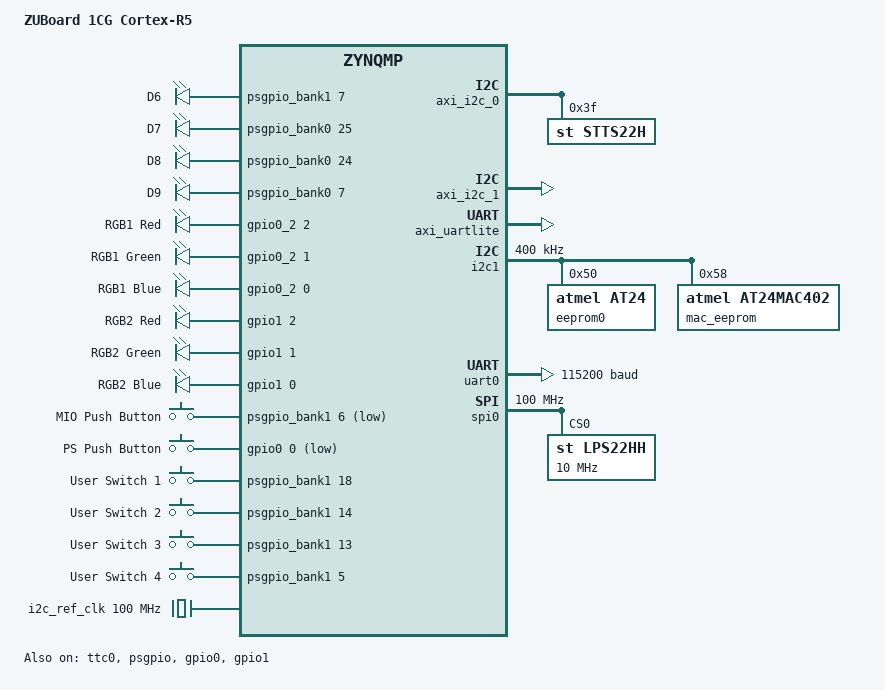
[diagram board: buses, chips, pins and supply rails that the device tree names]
/*
 * Copyright The Zephyr Project Contributors
 *
 * SPDX-License-Identifier: Apache-2.0
 */

/dts-v1/;
#include <arm/xilinx/zynqmp_rpu.dtsi>
#include <freq.h>
#include <zephyr/dt-bindings/gpio/gpio.h>
#include <zephyr/dt-bindings/i2c/i2c.h>
#include <zephyr/dt-bindings/memory-attr/memory-attr-arm.h>
#include <zephyr/dt-bindings/sensor/lps22hh.h>
#include <zephyr/dt-bindings/sensor/stts22h.h>

/ {
	model = "ZUBoard 1CG Cortex-R5";
	compatible = "xlnx,zynqmp-r5";

	chosen {
		zephyr,sram = &sram1;
		zephyr,flash = &flash0;
		zephyr,console = &axi_uartlite;
		zephyr,shell-uart = &axi_uartlite;
		zephyr,ocm = &ocm;
	};

	aliases {
		led0 = &rgb2_red;
		sw0 = &pl_push_btn;
		pressure-sensor = &lps22hh;
		eeprom-0 = &eeprom0;
	};

	leds: leds{
		compatible = "gpio-leds";
		red_led_0: d6 {
			gpios = <&psgpio_bank1 7 GPIO_ACTIVE_HIGH>;
			label = "D6";
		};
		red_led_1: d7 {
			gpios = <&psgpio_bank0 25 GPIO_ACTIVE_HIGH>;
			label = "D7";
		};
		red_led_2: d8 {
			gpios = <&psgpio_bank0 24 GPIO_ACTIVE_HIGH>;
			label = "D8";
		};
		red_led_3: d9 {
			gpios = <&psgpio_bank0 7 GPIO_ACTIVE_HIGH>;
			label = "D9";
		};
		rgb1_red: rbg1_red {
			gpios = <&gpio0_2 2 GPIO_ACTIVE_HIGH>;
			label = "RGB1 Red";
		};
		rgb1_green: rbg1_green {
			gpios = <&gpio0_2 1 GPIO_ACTIVE_HIGH>;
			label = "RGB1 Green";
		};
		rgb1_blue: rbg1_blue {
			gpios = <&gpio0_2 0 GPIO_ACTIVE_HIGH>;
			label = "RGB1 Blue";
		};
		rgb2_red: rbg2_red {
			gpios = <&gpio1 2 GPIO_ACTIVE_HIGH>;
			label = "RGB2 Red";
		};
		rgb2_green: rbg2_green {
			gpios = <&gpio1 1 GPIO_ACTIVE_HIGH>;
			label = "RGB2 Green";
		};
		rgb2_blue: rbg2_blue {
			gpios = <&gpio1 0 GPIO_ACTIVE_HIGH>;
			label = "RGB2 Blue";
		};
	};

	keys {
		compatible = "gpio-keys";
		mio_push_btn: mio_push_btn {
			gpios = <&psgpio_bank1 6 GPIO_ACTIVE_LOW>;
			label = "MIO Push Button";
		};

		pl_push_btn: pl_push_btn {
			gpios = <&gpio0 0 GPIO_ACTIVE_LOW>;
			label = "PS Push Button";
		};

		user_switch_1: sw1 {
			gpios = <&psgpio_bank1 18 GPIO_ACTIVE_HIGH>;
			label = "User Switch 1";
			zephyr,code = <INPUT_BTN_1>;
		};

		user_switch_2: sw2 {
			gpios = <&psgpio_bank1 14 GPIO_ACTIVE_HIGH>;
			label = "User Switch 2";
			zephyr,code = <INPUT_BTN_2>;
		};

		user_switch_3: sw3 {
			gpios = <&psgpio_bank1 13 GPIO_ACTIVE_HIGH>;
			label = "User Switch 3";
			zephyr,code = <INPUT_BTN_3>;
		};

		user_switch_4: sw4 {
			gpios = <&psgpio_bank1 5 GPIO_ACTIVE_HIGH>;
			label = "User Switch 4";
			zephyr,code = <INPUT_BTN_4>;
		};
	};

	i2c_ref_clk: i2c_ref_clk {
		compatible = "fixed-clock";
		clock-frequency = <100000000>;
		#clock-cells = <0>;
	};

	soc {
		// rproc_0_reserved in Petalinux zynqmp_openamp.dtsi
		sram1: memory@3ed00000 {
			compatible = "zephyr,memory-region", "mmio-sram";
			reg = <0x3ed00000 DT_SIZE_K(256)>;
			zephyr,memory-region = "SRAM1";
			zephyr,memory-attr = <( DT_MEM_ARM(ATTR_MPU_RAM) )>;
		};

		axi_peripherals: memory@80000000 {
			compatible = "zephyr,memory-region";
			reg = <0x80000000 DT_SIZE_K(3)>;
			zephyr,memory-region = "PL_IO";
			zephyr,memory-attr = <(DT_MEM_ARM(ATTR_MPU_IO))>;
		};

		gpio0: gpio@80000000 {
			compatible = "xlnx,xps-gpio-1.00.a";
			reg = <0x80000000 0x200>;
			#gpio-cells = <2>;
			gpio-controller;
			status = "okay";
			interrupt-parent = <&gic>;
			interrupts = <GIC_SPI 91 IRQ_TYPE_LEVEL
					IRQ_DEFAULT_PRIORITY>;
			xlnx,all-inputs = <1>;
			xlnx,all-outputs-2 = <1>;
			xlnx,gpio-width = <1>;
			xlnx,gpio2-width = <3>;
			xlnx,is-dual = <1>;

			gpio0_2: gpio2 {
				compatible = "xlnx,xps-gpio-1.00.a-gpio2";
				#gpio-cells = <2>;
				gpio-controller;
				status = "okay";
			};
		};

		gpio1: gpio@80000200 {
			compatible = "xlnx,xps-gpio-1.00.a";
			reg = <0x80000200 0x200>;
			#gpio-cells = <2>;
			gpio-controller;
			status = "okay";
			xlnx,all-outputs = <1>;
			xlnx,gpio-width = <3>;
		};

		axi_i2c_0: axi_i2c@80000400 {
			compatible = "xlnx,xps-iic-2.1";
			status = "okay";
			#address-cells = <1>;
			#size-cells = <0>;
			reg = <0x80000400 0x200>;
			interrupt-parent = <&gic>;
			interrupts = <GIC_SPI 89 IRQ_TYPE_LEVEL
					IRQ_DEFAULT_PRIORITY>;

			stts22h: stts22h@3f {
				compatible = "st,stts22h";
				status = "okay";
				reg = <0x3f>;
				sampling-rate = <STTS22H_1Hz>;
			};
		};

		axi_i2c_1: axi_i2c@80000600 {
			compatible = "xlnx,xps-iic-2.1";
			status = "okay";
			#address-cells = <1>;
			#size-cells = <0>;
			reg = <0x80000600 0x200>;
			interrupt-parent = <&gic>;
			interrupts = <GIC_SPI 90 IRQ_TYPE_LEVEL
					IRQ_DEFAULT_PRIORITY>;
		};

		axi_uartlite: uart@0x80000800 {
			compatible = "xlnx,xps-uartlite-1.00.a";
			reg = <0x80000800 0x200>;
			status = "okay";
			interrupts = <GIC_SPI 92 IRQ_TYPE_LEVEL
					IRQ_DEFAULT_PRIORITY>;
		};
	};
};

&ttc0 {
	status = "okay";
	clock-frequency = <100000000>;
};

&psgpio {
	status = "okay";
};

&i2c1 {
	status = "okay";
	clocks = <&i2c_ref_clk>;
	clock-frequency = <400000>;

	eeprom0: eeprom@50 {
		compatible = "atmel,at24";
		reg = <0x50>;
		size = <256>;
		pagesize = <16>;
		address-width = <8>;
		timeout = <5>;
	};

	mac_eeprom: mac-eeprom@58 {
		compatible = "atmel,at24mac402";
		reg = <0x58>;
		#address-cells = <1>;
		#size-cells = <1>;

		mac_address: mac-address@9a {
			reg = <0x9a 0x06>;
		};
	};
};

&uart0 {
	status = "okay";
	current-speed = <115200>;
	clock-frequency = <DT_FREQ_M(100)>;
};

&spi0 {
	status = "okay";
	clock-frequency = <DT_FREQ_M(100)>;

    lps22hh: lps22hh@0 {
		compatible = "st,lps22hh";
		reg = <0>;
      	odr = <LPS22HH_DT_ODR_1HZ>;
		spi-max-frequency = <DT_FREQ_M(10)>;
    };
};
